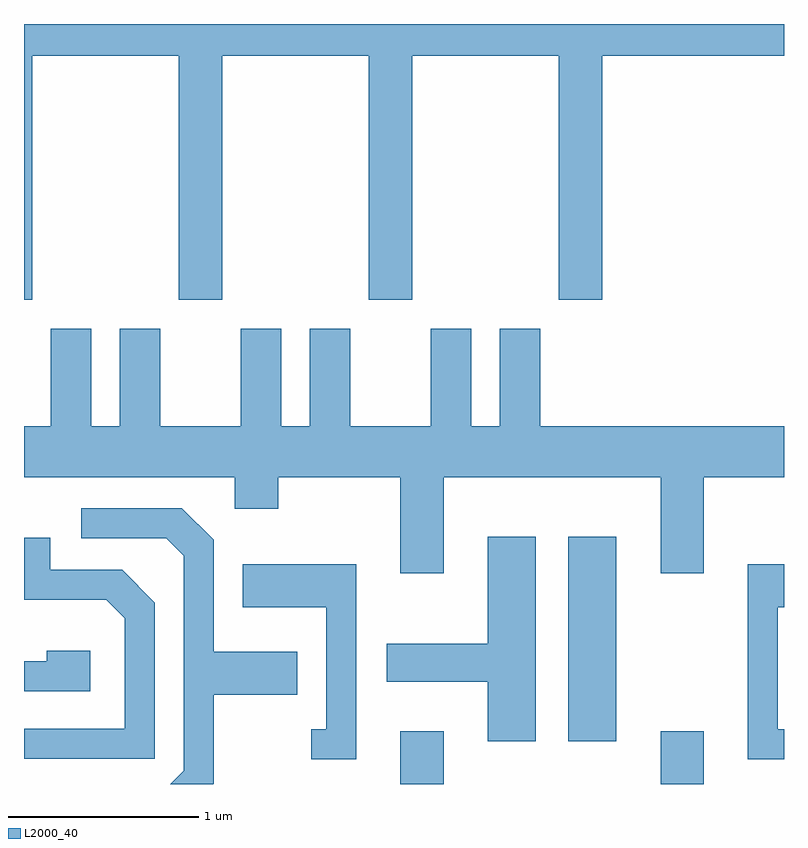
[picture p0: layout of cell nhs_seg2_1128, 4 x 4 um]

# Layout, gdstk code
import gdstk
lib = gdstk.Library(unit=1e-6, precision=1e-09)
def R(c, l, rs):  # rectangles x0, y0, x1, y1
    for r in rs: c.add(gdstk.rectangle(r[:2], r[2:], *l))
def P(c, l, *ps):  # polygons
    for p in ps: c.add(gdstk.Polygon(p, *l))
L2000_40 = (2000, 40)

nhs_seg2_1128 = lib.new_cell('nhs_seg2_1128')
R(nhs_seg2_1128, L2000_40, [(219.591,1057.802,219.819,1058.079), (220.961,1057.802,221.189,1058.079), (220.476,1058.026,220.729,1059.104)])
P(nhs_seg2_1128, L2000_40, [(217.654,1061.636),(218.426,1061.636),(218.426,1060.351),(218.654,1060.351),(218.654,1061.636),(219.426,1061.636),(219.426,1060.351),(219.654,1060.351),(219.654,1061.636),(220.426,1061.636),(220.426,1060.351),(220.654,1060.351),(220.654,1061.636),(221.611,1061.636),(221.611,1061.802),(217.611,1061.802),(217.611,1060.351),(217.654,1060.351)],
  [(219.819,1059.416),(220.961,1059.416),(220.961,1058.911),(221.189,1058.911),(221.189,1059.416),(221.611,1059.416),(221.611,1059.684),(220.329,1059.684),(220.329,1060.199),(220.116,1060.199),(220.116,1059.684),(219.964,1059.684),(219.964,1060.199),(219.751,1060.199),(219.751,1059.684),(219.329,1059.684),(219.329,1060.199),(219.116,1060.199),(219.116,1059.684),(218.964,1059.684),(218.964,1060.199),(218.751,1060.199),(218.751,1059.684),(218.329,1059.684),(218.329,1060.199),(218.116,1060.199),(218.116,1059.684),(217.964,1059.684),(217.964,1060.199),(217.751,1060.199),(217.751,1059.684),(217.611,1059.684),(217.611,1059.416),(218.721,1059.416),(218.721,1059.251),(218.949,1059.251),(218.949,1059.416),(219.591,1059.416),(219.591,1058.911),(219.819,1058.911)],
  [(218.609,1057.804),(218.609,1058.271),(219.049,1058.271),(219.049,1058.499),(218.609,1058.499),(218.609,1059.087),(218.442,1059.254),(217.913,1059.254),(217.913,1059.096),(218.359,1059.096),(218.451,1059.004),(218.451,1057.872),(218.382,1057.802),(218.607,1057.802)],
  [(220.304,1059.104),(220.051,1059.104),(220.051,1058.539),(219.521,1058.539),(219.521,1058.341),(220.051,1058.341),(220.051,1058.026),(220.304,1058.026)],
  [(218.299,1058.757),(218.127,1058.929),(217.749,1058.929),(217.749,1059.099),(217.611,1059.099),(217.611,1058.771),(218.044,1058.771),(218.141,1058.674),(218.141,1058.094),(217.611,1058.094),(217.611,1057.936),(218.299,1057.936)],
  [(221.611,1058.089),(221.579,1058.089),(221.579,1058.731),(221.611,1058.731),(221.611,1058.959),(221.421,1058.959),(221.421,1057.931),(221.611,1057.931)],
  [(219.359,1058.959),(218.761,1058.959),(218.761,1058.731),(219.201,1058.731),(219.201,1058.089),(219.123,1058.089),(219.123,1057.931),(219.359,1057.931)],
  [(217.959,1058.504),(217.731,1058.504),(217.731,1058.449),(217.611,1058.449),(217.611,1058.291),(217.959,1058.291)])

lib.write_gds('nhs_seg2_1128.gds')
